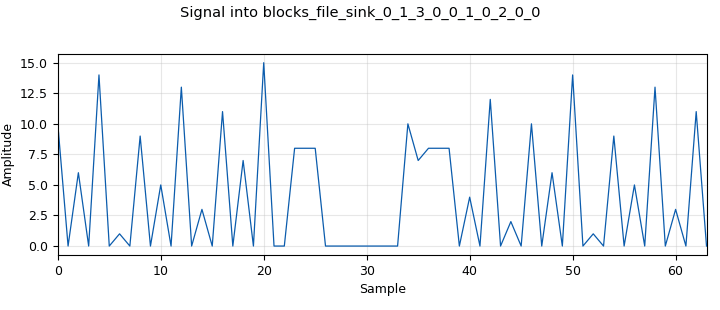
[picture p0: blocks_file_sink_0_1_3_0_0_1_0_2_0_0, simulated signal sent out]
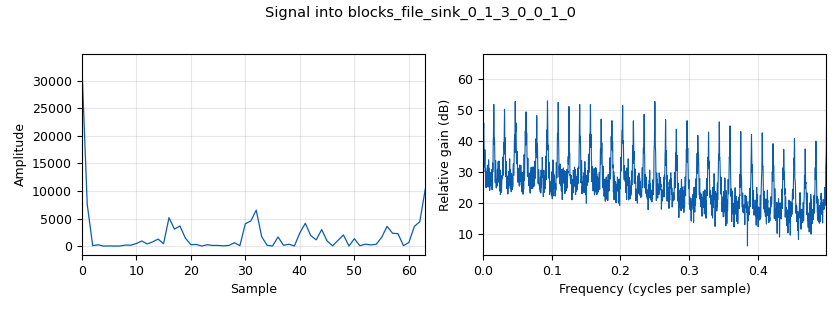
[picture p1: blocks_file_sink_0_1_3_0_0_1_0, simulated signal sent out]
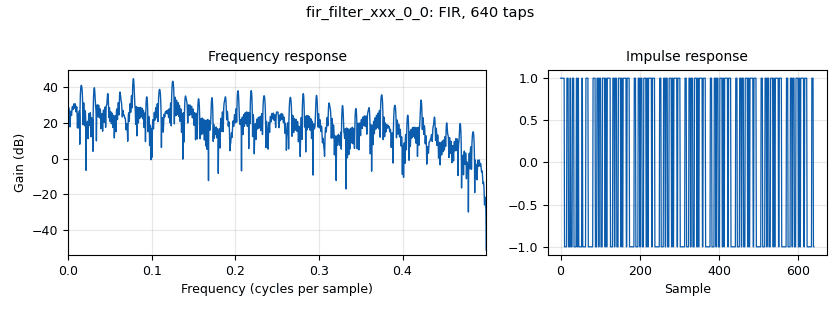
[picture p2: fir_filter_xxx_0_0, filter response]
<?xml version='1.0' encoding='utf-8'?>
<?grc format='1' created='3.7.6'?>
<flow_graph>
<block>
<key>options</key>
<param><key>id</key><value>zigbee_test</value></param>
<param><key>title</key><value>zigbee_test</value></param>
<param><key>generate_options</key><value>wx_gui</value></param>
<param><key>category</key><value>Custom</value></param>
</block>
<block>
<key>variable</key>
<param><key>id</key><value>peak_o_var</value></param>
<param><key>value</key><value>64*10</value></param>
</block>
<block>
<key>variable</key>
<param><key>id</key><value>N0</value></param>
<param><key>value</key><value>10**(-EsN0dB/10) * Es</value></param>
</block>
<block>
<key>variable</key>
<param><key>id</key><value>Q</value></param>
<param><key>value</key><value>64</value></param>
</block>
<block>
<key>variable</key>
<param><key>id</key><value>Es</value></param>
<param><key>value</key><value>1</value></param>
</block>
<block>
<key>variable</key>
<param><key>id</key><value>pulse_table</value></param>
<param><key>value</key><value>(-1,-1,1,1,1,1,-1,-1,-1,-1,-1,-1,-1,-1,-1,-1,-1,-1,1,1,1,1,1,1,-1,-1,1,1,1,1,1,1,1,1,-1,-1,1,1,-1,-1,1,1,1,1,1,1,-1,-1,-1,-1,1,1,1,1,-1,-1,1,1,1,1,-1,-1,-1,-1,-1,-1,1,1,-1,-1,-1,-1,1,1,1,1,1,1,-1,-1,-1,-1,-1,-1,-1,-1,-1,-1,-1,-1,1,1,1,1,1,1,-1,-1,1,1,1,1,1,1,1,1,-1,-1,1,1,-1,-1,1,1,1,1,1,1,-1,-1,-1,-1,1,1,1,1,-1,-1,-1,-1,1,1,1,1,-1,-1,1,1,1,1,-1,-1,-1,-1,1,1,1,1,1,1,-1,-1,-1,-1,-1,-1,-1,-1,-1,-1,-1,-1,1,1,1,1,1,1,-1,-1,1,1,1,1,1,1,1,1,-1,-1,1,1,-1,-1,1,1,1,1,1,1,-1,-1,-1,-1,1,1,1,1,-1,-1,-1,-1,1,1,1,1,-1,-1,1,1,1,1,-1,-1,-1,-1,1,1,1,1,1,1,-1,-1,-1,-1,-1,-1,-1,-1,-1,-1,-1,-1,1,1,1,1,1,1,-1,-1,1,1,1,1,1,1,1,1,-1,-1,1,1,-1,-1,-1,-1,-1,-1,1,1,-1,-1,1,1,1,1,1,1,-1,-1,-1,-1,1,1,1,1,-1,-1,1,1,1,1,-1,-1,-1,-1,1,1,1,1,1,1,-1,-1,-1,-1,-1,-1,-1,-1,-1,-1,-1,-1,1,1,1,1,1,1,-1,-1,1,1,1,1,1,1,-1,-1,1,1,1,1,1,1,1,1,-1,-1,1,1,-1,-1,1,1,1,1,1,1,-1,-1,-1,-1,1,1,1,1,-1,-1,1,1,1,1,-1,-1,-1,-1,1,1,1,1,1,1,-1,-1,-1,-1,-1,-1,-1,-1,-1,-1,-1,-1,1,1,1,1,1,1,-1,-1,1,1,1,1,1,1,-1,-1,1,1,1,1,1,1,1,1,-1,-1,1,1,-1,-1,1,1,1,1,1,1,-1,-1,-1,-1,1,1,1,1,-1,-1,1,1,1,1,-1,-1,-1,-1,1,1,1,1,1,1,-1,-1,-1,-1,-1,-1,-1,-1,-1,-1,-1,-1,-1,-1,-1,-1,-1,-1,-1,-1,1,1,1,1,1,1,-1,-1,1,1,1,1,1,1,1,1,-1,-1,1,1,-1,-1,1,1,1,1,1,1,-1,-1,-1,-1,1,1,1,1,-1,-1,1,1,1,1,-1,-1,-1,-1,1,1,1,1,1,1,-1,-1,-1,-1,-1,-1,-1,-1,1,1,1,1,1,1,1,1,1,1,1,1,-1,-1,-1,-1,-1,-1,1,1,-1,-1,-1,-1,-1,-1,-1,-1,1,1,-1,-1,1,1,-1,-1,-1,-1,-1,-1,1,1,1,1,-1,-1,-1,-1,1,1,-1,-1,-1,-1,1,1,1,1,-1,-1,-1,-1,1,1,1,1,-1,-1,-1,-1,-1,-1,1,1,1,1,1,1,1,1,1,1,1,1,-1,-1,-1,-1,-1,-1,1,1,-1,-1,-1,-1,-1,-1,-1,-1,1,1,-1,-1,1,1,-1,-1,-1,-1,-1,-1,1,1,1,1,-1,-1,-1,-1,1,1,-1,-1,-1,-1,-1,-1,1,1,-1,-1,-1,-1,1,1,1,1,-1,-1,-1,-1,-1,-1,1,1,1,1,1,1,1,1,1,1,1,1,-1,-1,-1,-1,-1,-1,1,1,-1,-1,-1,-1,-1,-1,-1,-1,1,1,-1,-1,1,1,-1,-1,-1,-1,-1,-1,1,1,-1,-1,-1,-1,-1,-1,1,1,1,1,-1,-1,-1,-1,1,1,-1,-1,-1,-1,1,1,1,1,-1,-1,-1,-1,-1,-1,1,1,1,1,1,1,1,1,1,1,1,1,-1,-1,-1,-1,-1,-1,1,1,-1,-1,-1,-1,-1,-1,-1,-1,1,1,-1,-1,1,1,-1,-1,1,1,-1,-1,1,1,-1,-1,-1,-1,-1,-1,1,1,1,1,-1,-1,-1,-1,1,1,-1,-1,-1,-1,1,1,1,1,-1,-1,-1,-1,-1,-1,1,1,1,1,1,1,1,1,1,1,1,1,-1,-1,-1,-1,-1,-1,1,1,-1,-1,-1,-1,-1,-1,-1,-1,-1,-1,-1,-1,-1,-1,-1,-1,1,1,-1,-1,1,1,-1,-1,-1,-1,-1,-1,1,1,1,1,-1,-1,-1,-1,1,1,-1,-1,-1,-1,1,1,1,1,-1,-1,-1,-1,-1,-1,1,1,1,1,1,1,1,1,1,1,1,1,-1,-1,-1,-1,-1,-1,-1,-1,-1,-1,-1,-1,-1,-1,1,1,-1,-1,-1,-1,-1,-1,-1,-1,1,1,-1,-1,1,1,-1,-1,-1,-1,-1,-1,1,1,1,1,-1,-1,-1,-1,1,1,-1,-1,-1,-1,1,1,1,1,-1,-1,-1,-1,-1,-1,1,1,1,1,1,1,1,1,1,1,-1,-1,1,1,1,1,1,1,1,1,-1,-1,-1,-1,-1,-1,1,1,-1,-1,-1,-1,-1,-1,-1,-1,1,1,-1,-1,1,1,-1,-1,-1,-1,-1,-1,1,1,1,1,-1,-1,-1,-1,1,1,-1,-1,-1,-1,1,1,1,1,-1,-1,-1,-1,-1,-1,1,1)</value></param>
</block>
<block>
<key>variable</key>
<param><key>id</key><value>samp_rate</value></param>
<param><key>value</key><value>200000</value></param>
</block>
<block>
<key>variable</key>
<param><key>id</key><value>EsN0dB</value></param>
<param><key>_enabled</key><value>False</value></param>
<param><key>value</key><value>10</value></param>
</block>
<block>
<key>blocks_throttle</key>
<param><key>id</key><value>blocks_throttle_0</value></param>
<param><key>type</key><value>complex</value></param>
<param><key>samples_per_second</key><value>samp_rate</value></param>
<param><key>Limit</key><value>False</value></param>
<param><key>max_noutput_items</key><value>100</value></param>
</block>
<block>
<key>virtual_source</key>
<param><key>id</key><value>virtual_source_0_0_0</value></param>
<param><key>_enabled</key><value>False</value></param>
<param><key>stream_id</key><value>rx</value></param>
</block>
<block>
<key>virtual_sink</key>
<param><key>id</key><value>tx1_1</value></param>
<param><key>_enabled</key><value>False</value></param>
<param><key>stream_id</key><value>tx</value></param>
</block>
<block>
<key>virtual_sink</key>
<param><key>id</key><value>tx1</value></param>
<param><key>stream_id</key><value>tx</value></param>
</block>
<block>
<key>blocks_packed_to_unpacked_xx</key>
<param><key>id</key><value>blocks_packed_to_unpacked_xx_0</value></param>
<param><key>type</key><value>byte</value></param>
<param><key>bits_per_chunk</key><value>4</value></param>
<param><key>endianness</key><value>gr.GR_LSB_FIRST</value></param>
</block>
<block>
<key>variable_slider</key>
<param><key>id</key><value>delay</value></param>
<param><key>label</key><value></value></param>
<param><key>value</key><value>0</value></param>
<param><key>min</key><value>0</value></param>
<param><key>max</key><value>100</value></param>
<param><key>num_steps</key><value>100</value></param>
<param><key>style</key><value>wx.SL_HORIZONTAL</value></param>
<param><key>converver</key><value>float_converter</value></param>
</block>
<block>
<key>blocks_file_sink</key>
<param><key>id</key><value>blocks_file_sink_0_1_3_0_0_1_0_2_1_0_0_0</value></param>
<param><key>_enabled</key><value>False</value></param>
<param><key>file</key><value>/home/zhe/Dropbox/gnuradio_trunk/gnufiles/err</value></param>
<param><key>type</key><value>float</value></param>
<param><key>unbuffered</key><value>True</value></param>
</block>
<block>
<key>digital_clock_recovery_mm_xx</key>
<param><key>id</key><value>digital_clock_recovery_mm_xx_0</value></param>
<param><key>_enabled</key><value>False</value></param>
<param><key>type</key><value>float</value></param>
<param><key>omega</key><value>2</value></param>
<param><key>gain_omega</key><value>0.000225</value></param>
<param><key>mu</key><value>0.5</value></param>
<param><key>gain_mu</key><value>0.03</value></param>
<param><key>omega_relative_limit</key><value>0.0002</value></param>
</block>
<block>
<key>blocks_sub_xx</key>
<param><key>id</key><value>blocks_sub_xx_0</value></param>
<param><key>_enabled</key><value>False</value></param>
<param><key>type</key><value>float</value></param>
</block>
<block>
<key>note</key>
<param><key>id</key><value>note_0</value></param>
<param><key>note</key><value>lower nipple is sent first</value></param>
</block>
<block>
<key>import</key>
<param><key>id</key><value>import_0</value></param>
<param><key>import</key><value>from math import sin, pi</value></param>
</block>
<block>
<key>virtual_source</key>
<param><key>id</key><value>virtual_source_0_0</value></param>
<param><key>stream_id</key><value>rx</value></param>
</block>
<block>
<key>blocks_peak_detector2_fb</key>
<param><key>id</key><value>blocks_peak_detector2_fb_0</value></param>
<param><key>_enabled</key><value>False</value></param>
<param><key>threshold_factor_rise</key><value>10**(acq_threshold_dB/10)*peak_o_var</value></param>
<param><key>look_ahead</key><value>10*32</value></param>
<param><key>alpha</key><value>0.001</value></param>
</block>
<block>
<key>single_pole_iir_filter_xx</key>
<param><key>id</key><value>single_pole_iir_filter_xx_0</value></param>
<param><key>_enabled</key><value>False</value></param>
<param><key>type</key><value>float</value></param>
<param><key>alpha</key><value>0.00016</value></param>
</block>
<block>
<key>wxgui_scopesink2</key>
<param><key>id</key><value>wxgui_scopesink2_0</value></param>
<param><key>_enabled</key><value>False</value></param>
<param><key>type</key><value>float</value></param>
<param><key>title</key><value>Scope Plot</value></param>
<param><key>samp_rate</key><value>samp_rate</value></param>
<param><key>v_scale</key><value>0</value></param>
<param><key>v_offset</key><value>0</value></param>
<param><key>t_scale</key><value>0</value></param>
<param><key>ac_couple</key><value>False</value></param>
<param><key>xy_mode</key><value>False</value></param>
<param><key>num_inputs</key><value>1</value></param>
<param><key>trig_mode</key><value>wxgui.TRIG_MODE_AUTO</value></param>
<param><key>y_axis_label</key><value>Counts</value></param>
</block>
<block>
<key>blocks_add_xx</key>
<param><key>id</key><value>blocks_add_xx_0_0</value></param>
<param><key>type</key><value>complex</value></param>
</block>
<block>
<key>virtual_sink</key>
<param><key>id</key><value>tx1_0</value></param>
<param><key>stream_id</key><value>rx</value></param>
</block>
<block>
<key>note</key>
<param><key>id</key><value>note_1</value></param>
<param><key>note</key><value>maps chunks of 4 bis directly to qpsk symbols</value></param>
</block>
<block>
<key>blocks_multiply_xx</key>
<param><key>id</key><value>blocks_multiply_xx_0</value></param>
<param><key>type</key><value>complex</value></param>
</block>
<block>
<key>virtual_sink</key>
<param><key>id</key><value>virtual_sink_0</value></param>
<param><key>stream_id</key><value>source</value></param>
</block>
<block>
<key>blocks_vector_source_x</key>
<param><key>id</key><value>blocks_vector_source_x_0_0</value></param>
<param><key>type</key><value>complex</value></param>
<param><key>vector</key><value>[0, sin(pi/4), 1, sin(3*pi/4)]</value></param>
<param><key>repeat</key><value>True</value></param>
</block>
<block>
<key>blocks_repeat</key>
<param><key>id</key><value>blocks_repeat_0</value></param>
<param><key>type</key><value>complex</value></param>
<param><key>interp</key><value>4</value></param>
</block>
<block>
<key>digital_chunks_to_symbols_xx</key>
<param><key>id</key><value>digital_chunks_to_symbols_xx_0</value></param>
<param><key>in_type</key><value>byte</value></param>
<param><key>out_type</key><value>complex</value></param>
<param><key>symbol_table</key><value>[(1+1j), (-1+1j), (1-1j), (-1+1j), (1+1j), (-1-1j), (-1-1j), (1+1j), (-1+1j), (-1+1j), (-1-1j), (1-1j), (-1-1j), (1-1j), (1+1j), (1-1j), (1-1j), (-1-1j), (1+1j), (-1-1j), (1-1j), (-1+1j), (-1+1j), (1-1j), (-1-1j), (-1-1j), (-1+1j), (1+1j), (-1+1j), (1+1j), (1-1j), (1+1j), (-1+1j), (-1+1j), (-1-1j), (1-1j), (-1-1j), (1-1j), (1+1j), (1-1j), (1+1j), (-1+1j), (1-1j), (-1+1j), (1+1j), (-1-1j), (-1-1j), (1+1j), (-1-1j), (-1-1j), (-1+1j), (1+1j), (-1+1j), (1+1j), (1-1j), (1+1j), (1-1j), (-1-1j), (1+1j), (-1-1j), (1-1j), (-1+1j), (-1+1j), (1-1j), (-1-1j), (1-1j), (1+1j), (1-1j), (1+1j), (-1+1j), (1-1j), (-1+1j), (1+1j), (-1-1j), (-1-1j), (1+1j), (-1+1j), (-1+1j), (-1-1j), (1-1j), (-1+1j), (1+1j), (1-1j), (1+1j), (1-1j), (-1-1j), (1+1j), (-1-1j), (1-1j), (-1+1j), (-1+1j), (1-1j), (-1-1j), (-1-1j), (-1+1j), (1+1j), (1+1j), (-1-1j), (-1-1j), (1+1j), (-1+1j), (-1+1j), (-1-1j), (1-1j), (-1-1j), (1-1j), (1+1j), (1-1j), (1+1j), (-1+1j), (1-1j), (-1+1j), (1-1j), (-1+1j), (-1+1j), (1-1j), (-1-1j), (-1-1j), (-1+1j), (1+1j), (-1+1j), (1+1j), (1-1j), (1+1j), (1-1j), (-1-1j), (1+1j), (-1-1j), (1+1j), (1-1j), (1+1j), (-1+1j), (1-1j), (-1+1j), (1+1j), (-1-1j), (-1-1j), (1+1j), (-1+1j), (-1+1j), (-1-1j), (1-1j), (-1-1j), (1-1j), (1-1j), (1+1j), (1-1j), (-1-1j), (1+1j), (-1-1j), (1-1j), (-1+1j), (-1+1j), (1-1j), (-1-1j), (-1-1j), (-1+1j), (1+1j), (-1+1j), (1+1j), (-1-1j), (1+1j), (-1+1j), (-1+1j), (-1-1j), (1-1j), (-1-1j), (1-1j), (1+1j), (1-1j), (1+1j), (-1+1j), (1-1j), (-1+1j), (1+1j), (-1-1j), (-1+1j), (1-1j), (-1-1j), (-1-1j), (-1+1j), (1+1j), (-1+1j), (1+1j), (1-1j), (1+1j), (1-1j), (-1-1j), (1+1j), (-1-1j), (1-1j), (-1+1j), (-1-1j), (1-1j), (-1-1j), (1-1j), (1+1j), (1-1j), (1+1j), (-1+1j), (1-1j), (-1+1j), (1+1j), (-1-1j), (-1-1j), (1+1j), (-1+1j), (-1+1j), (-1+1j), (1+1j), (-1+1j), (1+1j), (1-1j), (1+1j), (1-1j), (-1-1j), (1+1j), (-1-1j), (1-1j), (-1+1j), (-1+1j), (1-1j), (-1-1j), (-1-1j), (1-1j), (-1+1j), (1+1j), (-1-1j), (-1-1j), (1+1j), (-1+1j), (-1+1j), (-1-1j), (1-1j), (-1-1j), (1-1j), (1+1j), (1-1j), (1+1j), (-1+1j), (1+1j), (-1-1j), (1-1j), (-1+1j), (-1+1j), (1-1j), (-1-1j), (-1-1j), (-1+1j), (1+1j), (-1+1j), (1+1j), (1-1j), (1+1j), (1-1j), (-1-1j)]</value></param>
<param><key>dimension</key><value>16</value></param>
</block>
<block>
<key>blocks_file_sink</key>
<param><key>id</key><value>blocks_file_sink_0_1_3_0_0_1_0_2_0</value></param>
<param><key>_enabled</key><value>False</value></param>
<param><key>file</key><value>/home/zhe/Dropbox/gnuradio_trunk/gnufiles/flags1</value></param>
<param><key>type</key><value>byte</value></param>
<param><key>unbuffered</key><value>True</value></param>
</block>
<block>
<key>variable_function_probe</key>
<param><key>id</key><value>Erxd</value></param>
<param><key>_enabled</key><value>False</value></param>
<param><key>value</key><value>1</value></param>
<param><key>block_id</key><value>blocks_probe_signal_x_0</value></param>
<param><key>function_name</key><value>level</value></param>
<param><key>poll_rate</key><value>10</value></param>
</block>
<block>
<key>blocks_probe_signal_x</key>
<param><key>id</key><value>blocks_probe_signal_x_0</value></param>
<param><key>_enabled</key><value>False</value></param>
<param><key>type</key><value>float</value></param>
</block>
<block>
<key>single_pole_iir_filter_xx</key>
<param><key>id</key><value>single_pole_iir_filter_xx_0_0_1_1</value></param>
<param><key>_enabled</key><value>False</value></param>
<param><key>type</key><value>float</value></param>
<param><key>alpha</key><value>0.1</value></param>
</block>
<block>
<key>blocks_file_sink</key>
<param><key>id</key><value>blocks_file_sink_0_1_3_0_0_1_0_2_1</value></param>
<param><key>_enabled</key><value>False</value></param>
<param><key>file</key><value>/home/zhe/Dropbox/gnuradio_trunk/gnufiles/ab</value></param>
<param><key>type</key><value>float</value></param>
<param><key>unbuffered</key><value>True</value></param>
</block>
<block>
<key>blocks_regenerate_bb</key>
<param><key>id</key><value>blocks_regenerate_bb_0</value></param>
<param><key>_enabled</key><value>False</value></param>
<param><key>period</key><value>Q</value></param>
<param><key>max_regen</key><value>500000</value></param>
</block>
<block>
<key>blocks_file_sink</key>
<param><key>id</key><value>blocks_file_sink_0_1_3_0_0_1_0_0</value></param>
<param><key>_enabled</key><value>False</value></param>
<param><key>file</key><value>/home/zhe/Dropbox/gnuradio_trunk/gnufiles/demod</value></param>
<param><key>type</key><value>float</value></param>
<param><key>unbuffered</key><value>True</value></param>
</block>
<block>
<key>blocks_multiply_xx</key>
<param><key>id</key><value>blocks_multiply_xx_1</value></param>
<param><key>type</key><value>float</value></param>
</block>
<block>
<key>blocks_delay</key>
<param><key>id</key><value>blocks_delay_2</value></param>
<param><key>type</key><value>float</value></param>
<param><key>delay</key><value>2</value></param>
</block>
<block>
<key>blocks_float_to_complex</key>
<param><key>id</key><value>blocks_float_to_complex_0</value></param>
</block>
<block>
<key>blocks_complex_to_float</key>
<param><key>id</key><value>blocks_complex_to_float_0</value></param>
</block>
<block>
<key>virtual_source</key>
<param><key>id</key><value>virtual_source_0</value></param>
<param><key>stream_id</key><value>tx</value></param>
</block>
<block>
<key>blocks_file_sink</key>
<param><key>id</key><value>blocks_file_sink_0_1_3_0_0_1_0_1</value></param>
<param><key>_enabled</key><value>False</value></param>
<param><key>file</key><value>/home/zhe/Dropbox/gnuradio_trunk/gnufiles/frame_length</value></param>
<param><key>type</key><value>float</value></param>
<param><key>unbuffered</key><value>True</value></param>
</block>
<block>
<key>zigbee_frame_length_detector</key>
<param><key>id</key><value>zigbee_frame_length_detector_0</value></param>
<param><key>_enabled</key><value>False</value></param>
<param><key>symbol_table</key><value>pulse_table</value></param>
<param><key>Q</key><value>64</value></param>
</block>
<block>
<key>blocks_file_sink</key>
<param><key>id</key><value>blocks_file_sink_0_1_3_0_0_1_0_2_1_0_0_0_0_0</value></param>
<param><key>_enabled</key><value>False</value></param>
<param><key>file</key><value>/home/zhe/Dropbox/gnuradio_trunk/gnufiles/byte_out</value></param>
<param><key>type</key><value>byte</value></param>
<param><key>unbuffered</key><value>True</value></param>
</block>
<block>
<key>blocks_file_sink</key>
<param><key>id</key><value>blocks_file_sink_0_1_3_0_0_1_0_2_0_0</value></param>
<param><key>file</key><value>/home/zhe/Dropbox/gnuradio_trunk/gnufiles/source</value></param>
<param><key>type</key><value>byte</value></param>
<param><key>unbuffered</key><value>True</value></param>
</block>
<block>
<key>wxgui_scopesink2</key>
<param><key>id</key><value>wxgui_scopesink2_1</value></param>
<param><key>_enabled</key><value>False</value></param>
<param><key>type</key><value>float</value></param>
<param><key>title</key><value>Scope Plot</value></param>
<param><key>samp_rate</key><value>samp_rate</value></param>
<param><key>v_scale</key><value>0</value></param>
<param><key>v_offset</key><value>0</value></param>
<param><key>t_scale</key><value>0</value></param>
<param><key>ac_couple</key><value>False</value></param>
<param><key>xy_mode</key><value>False</value></param>
<param><key>num_inputs</key><value>1</value></param>
<param><key>trig_mode</key><value>wxgui.TRIG_MODE_AUTO</value></param>
<param><key>y_axis_label</key><value>Counts</value></param>
</block>
<block>
<key>blocks_char_to_float</key>
<param><key>id</key><value>blocks_char_to_float_0</value></param>
<param><key>_enabled</key><value>False</value></param>
<param><key>scale</key><value>1</value></param>
</block>
<block>
<key>variable_slider</key>
<param><key>id</key><value>acq_threshold_dB</value></param>
<param><key>label</key><value>acq_threshold_dB</value></param>
<param><key>value</key><value>-11.1</value></param>
<param><key>min</key><value>-40</value></param>
<param><key>max</key><value>20</value></param>
<param><key>num_steps</key><value>1000</value></param>
<param><key>style</key><value>wx.SL_HORIZONTAL</value></param>
<param><key>converver</key><value>float_converter</value></param>
<param><key>grid_pos</key><value>6,0,1,1</value></param>
</block>
<block>
<key>blocks_delay</key>
<param><key>id</key><value>blocks_delay_1</value></param>
<param><key>_enabled</key><value>False</value></param>
<param><key>type</key><value>byte</value></param>
<param><key>delay</key><value>0</value></param>
</block>
<block>
<key>blocks_null_sink</key>
<param><key>id</key><value>blocks_null_sink_0_1</value></param>
<param><key>_enabled</key><value>False</value></param>
<param><key>type</key><value>byte</value></param>
<param><key>bus_conns</key><value>[[0,],]</value></param>
</block>
<block>
<key>blocks_null_sink</key>
<param><key>id</key><value>blocks_null_sink_0</value></param>
<param><key>_enabled</key><value>False</value></param>
<param><key>type</key><value>byte</value></param>
<param><key>bus_conns</key><value>[[0,],]</value></param>
</block>
<block>
<key>blocks_null_sink</key>
<param><key>id</key><value>blocks_null_sink_0_0</value></param>
<param><key>_enabled</key><value>False</value></param>
<param><key>type</key><value>byte</value></param>
<param><key>bus_conns</key><value>[[0,],]</value></param>
</block>
<block>
<key>blocks_file_sink</key>
<param><key>id</key><value>blocks_file_sink_0_1_3_0_0_1_0_2_1_0_0_0_0_0_0</value></param>
<param><key>_enabled</key><value>False</value></param>
<param><key>file</key><value>/home/zhe/Dropbox/gnuradio_trunk/gnufiles/decim</value></param>
<param><key>type</key><value>byte</value></param>
<param><key>unbuffered</key><value>True</value></param>
</block>
<block>
<key>chopper_correlator2</key>
<param><key>id</key><value>chopper_correlator2_0</value></param>
<param><key>_enabled</key><value>False</value></param>
<param><key>pulse_data</key><value>pulse_table</value></param>
<param><key>Q</key><value>Q</value></param>
<param><key>N</key><value>1</value></param>
</block>
<block>
<key>virtual_source</key>
<param><key>id</key><value>virtual_source_1</value></param>
<param><key>_enabled</key><value>False</value></param>
<param><key>stream_id</key><value>source</value></param>
</block>
<block>
<key>blocks_file_sink</key>
<param><key>id</key><value>blocks_file_sink_0_1_3_0_0_1_0_2_1_0_0_0_0_0_0_0</value></param>
<param><key>_enabled</key><value>False</value></param>
<param><key>file</key><value>/home/zhe/Dropbox/gnuradio_trunk/gnufiles/deci</value></param>
<param><key>type</key><value>byte</value></param>
<param><key>unbuffered</key><value>True</value></param>
</block>
<block>
<key>wxgui_numbersink2</key>
<param><key>id</key><value>wxgui_numbersink2_0</value></param>
<param><key>_enabled</key><value>False</value></param>
<param><key>type</key><value>float</value></param>
<param><key>title</key><value>Number Plot</value></param>
<param><key>units</key><value>Units</value></param>
<param><key>samp_rate</key><value>1000</value></param>
<param><key>min_value</key><value>-100</value></param>
<param><key>max_value</key><value>100</value></param>
<param><key>factor</key><value>1.0</value></param>
<param><key>decimal_places</key><value>10</value></param>
<param><key>ref_level</key><value>0</value></param>
<param><key>number_rate</key><value>15</value></param>
<param><key>peak_hold</key><value>False</value></param>
<param><key>average</key><value>False</value></param>
<param><key>avg_alpha</key><value>0</value></param>
<param><key>show_gauge</key><value>True</value></param>
</block>
<block>
<key>blks2_error_rate</key>
<param><key>id</key><value>blks2_error_rate_0</value></param>
<param><key>_enabled</key><value>False</value></param>
<param><key>type</key><value>'SER'</value></param>
<param><key>win_size</key><value>10000</value></param>
<param><key>bits_per_symbol</key><value>8</value></param>
</block>
<block>
<key>analog_quadrature_demod_cf</key>
<param><key>id</key><value>analog_quadrature_demod_cf_0</value></param>
<param><key>gain</key><value>1</value></param>
</block>
<block>
<key>zigbee_frame_length_detector</key>
<param><key>id</key><value>zigbee_frame_length_detector_1</value></param>
<param><key>symbol_table</key><value>pulse_table</value></param>
<param><key>Q</key><value>64</value></param>
</block>
<block>
<key>blocks_file_sink</key>
<param><key>id</key><value>blocks_file_sink_0_1_3_0_0_1_0</value></param>
<param><key>file</key><value>/home/zhe/Dropbox/gnuradio_trunk/gnufiles/output</value></param>
<param><key>type</key><value>float</value></param>
<param><key>unbuffered</key><value>True</value></param>
</block>
<block>
<key>fir_filter_xxx</key>
<param><key>id</key><value>fir_filter_xxx_0_0</value></param>
<param><key>type</key><value>fff</value></param>
<param><key>decim</key><value>1</value></param>
<param><key>taps</key><value>pulse_table[14*Q:15*Q][::-1]+pulse_table[5*Q:6*Q][::-1]+8*pulse_table[0:Q][::-1]</value></param>
</block>
<block>
<key>blocks_vector_source_x</key>
<param><key>id</key><value>blocks_vector_source_x_0</value></param>
<param><key>type</key><value>byte</value></param>
<param><key>vector</key><value>1000*(0,0,0,0,229,17,1,2,3,4,5,6,7,8,9,10,11,12,13,14,15,16,17)</value></param>
<param><key>repeat</key><value>True</value></param>
</block>
<block>
<key>variable_slider</key>
<param><key>id</key><value>EsN0dB</value></param>
<param><key>label</key><value></value></param>
<param><key>value</key><value>20.01</value></param>
<param><key>min</key><value>-20</value></param>
<param><key>max</key><value>30</value></param>
<param><key>num_steps</key><value>100</value></param>
<param><key>style</key><value>wx.SL_HORIZONTAL</value></param>
<param><key>converver</key><value>float_converter</value></param>
</block>
<block>
<key>blocks_file_sink</key>
<param><key>id</key><value>blocks_file_sink_0_1_3_0_0_1_0_3</value></param>
<param><key>file</key><value>/home/zhe/Dropbox/gnuradio_trunk/gnufiles/demod</value></param>
<param><key>type</key><value>float</value></param>
<param><key>unbuffered</key><value>True</value></param>
</block>
<block>
<key>blocks_file_sink</key>
<param><key>id</key><value>blocks_file_sink_0_1_3_0_0_1_0_4</value></param>
<param><key>file</key><value>/home/zhe/Dropbox/gnuradio_trunk/gnufiles/result</value></param>
<param><key>type</key><value>float</value></param>
<param><key>unbuffered</key><value>True</value></param>
</block>
<block>
<key>blocks_file_sink</key>
<param><key>id</key><value>blocks_file_sink_0_1_3_0_0_1_0_2</value></param>
<param><key>file</key><value>/home/zhe/Dropbox/gnuradio_trunk/gnufiles/flags</value></param>
<param><key>type</key><value>byte</value></param>
<param><key>unbuffered</key><value>True</value></param>
</block>
<block>
<key>analog_noise_source_x</key>
<param><key>id</key><value>analog_noise_source_x_0</value></param>
<param><key>type</key><value>complex</value></param>
<param><key>noise_type</key><value>analog.GR_GAUSSIAN</value></param>
<param><key>amp</key><value>(Q*N0/2)**0.5</value></param>
<param><key>seed</key><value>0</value></param>
</block>
<block>
<key>blocks_peak_detector_xb</key>
<param><key>id</key><value>blocks_peak_detector_xb_0</value></param>
<param><key>type</key><value>float</value></param>
<param><key>threshold_factor_rise</key><value>10**(acq_threshold_dB/10)*peak_o_var</value></param>
<param><key>threshold_factor_fall</key><value>10**(acq_threshold_dB/10)*peak_o_var</value></param>
<param><key>look_ahead</key><value>10</value></param>
<param><key>alpha</key><value>0.001</value></param>
</block>
<connection><source_block_id>blocks_multiply_xx_0</source_block_id><sink_block_id>blocks_throttle_0</sink_block_id><source_key>0</source_key><sink_key>0</sink_key></connection>
<connection><source_block_id>blocks_throttle_0</source_block_id><sink_block_id>blocks_complex_to_float_0</sink_block_id><source_key>0</source_key><sink_key>0</sink_key></connection>
<connection><source_block_id>blocks_complex_to_float_0</source_block_id><sink_block_id>blocks_float_to_complex_0</sink_block_id><source_key>0</source_key><sink_key>0</sink_key></connection>
<connection><source_block_id>blocks_float_to_complex_0</source_block_id><sink_block_id>tx1</sink_block_id><source_key>0</source_key><sink_key>0</sink_key></connection>
<connection><source_block_id>virtual_source_0</source_block_id><sink_block_id>blocks_add_xx_0_0</sink_block_id><source_key>0</source_key><sink_key>0</sink_key></connection>
<connection><source_block_id>blocks_add_xx_0_0</source_block_id><sink_block_id>tx1_0</sink_block_id><source_key>0</source_key><sink_key>0</sink_key></connection>
<connection><source_block_id>blocks_vector_source_x_0</source_block_id><sink_block_id>blocks_packed_to_unpacked_xx_0</sink_block_id><source_key>0</source_key><sink_key>0</sink_key></connection>
<connection><source_block_id>digital_clock_recovery_mm_xx_0</source_block_id><sink_block_id>tx1_1</sink_block_id><source_key>0</source_key><sink_key>0</sink_key></connection>
<connection><source_block_id>virtual_source_0_0_0</source_block_id><sink_block_id>fir_filter_xxx_0_0</sink_block_id><source_key>0</source_key><sink_key>0</sink_key></connection>
<connection><source_block_id>blks2_error_rate_0</source_block_id><sink_block_id>blocks_file_sink_0_1_3_0_0_1_0_2_1_0_0_0</sink_block_id><source_key>0</source_key><sink_key>0</sink_key></connection>
<connection><source_block_id>digital_clock_recovery_mm_xx_0</source_block_id><sink_block_id>fir_filter_xxx_0_0</sink_block_id><source_key>0</source_key><sink_key>0</sink_key></connection>
<connection><source_block_id>blocks_complex_to_float_0</source_block_id><sink_block_id>blocks_delay_2</sink_block_id><source_key>1</source_key><sink_key>0</sink_key></connection>
<connection><source_block_id>blocks_delay_2</source_block_id><sink_block_id>blocks_float_to_complex_0</sink_block_id><source_key>0</source_key><sink_key>1</sink_key></connection>
<connection><source_block_id>blocks_sub_xx_0</source_block_id><sink_block_id>digital_clock_recovery_mm_xx_0</sink_block_id><source_key>0</source_key><sink_key>0</sink_key></connection>
<connection><source_block_id>single_pole_iir_filter_xx_0</source_block_id><sink_block_id>blocks_sub_xx_0</sink_block_id><source_key>0</source_key><sink_key>1</sink_key></connection>
<connection><source_block_id>analog_quadrature_demod_cf_0</source_block_id><sink_block_id>blocks_sub_xx_0</sink_block_id><source_key>0</source_key><sink_key>0</sink_key></connection>
<connection><source_block_id>analog_quadrature_demod_cf_0</source_block_id><sink_block_id>single_pole_iir_filter_xx_0</sink_block_id><source_key>0</source_key><sink_key>0</sink_key></connection>
<connection><source_block_id>blocks_multiply_xx_1</source_block_id><sink_block_id>blocks_peak_detector2_fb_0</sink_block_id><source_key>0</source_key><sink_key>0</sink_key></connection>
<connection><source_block_id>blocks_peak_detector2_fb_0</source_block_id><sink_block_id>blocks_file_sink_0_1_3_0_0_1_0_2</sink_block_id><source_key>0</source_key><sink_key>0</sink_key></connection>
<connection><source_block_id>digital_clock_recovery_mm_xx_0</source_block_id><sink_block_id>chopper_correlator2_0</sink_block_id><source_key>0</source_key><sink_key>0</sink_key></connection>
<connection><source_block_id>virtual_source_0_0</source_block_id><sink_block_id>analog_quadrature_demod_cf_0</sink_block_id><source_key>0</source_key><sink_key>0</sink_key></connection>
<connection><source_block_id>analog_quadrature_demod_cf_0</source_block_id><sink_block_id>blocks_file_sink_0_1_3_0_0_1_0_0</sink_block_id><source_key>0</source_key><sink_key>0</sink_key></connection>
<connection><source_block_id>blocks_peak_detector2_fb_0</source_block_id><sink_block_id>blocks_regenerate_bb_0</sink_block_id><source_key>0</source_key><sink_key>0</sink_key></connection>
<connection><source_block_id>chopper_correlator2_0</source_block_id><sink_block_id>blocks_file_sink_0_1_3_0_0_1_0_2_1_0_0_0_0_0</sink_block_id><source_key>2</source_key><sink_key>0</sink_key></connection>
<connection><source_block_id>blocks_peak_detector_xb_0</source_block_id><sink_block_id>blocks_regenerate_bb_0</sink_block_id><source_key>0</source_key><sink_key>0</sink_key></connection>
<connection><source_block_id>blocks_regenerate_bb_0</source_block_id><sink_block_id>chopper_correlator2_0</sink_block_id><source_key>0</source_key><sink_key>1</sink_key></connection>
<connection><source_block_id>blocks_regenerate_bb_0</source_block_id><sink_block_id>blocks_file_sink_0_1_3_0_0_1_0_2_0</sink_block_id><source_key>0</source_key><sink_key>0</sink_key></connection>
<connection><source_block_id>analog_noise_source_x_0</source_block_id><sink_block_id>blocks_add_xx_0_0</sink_block_id><source_key>0</source_key><sink_key>1</sink_key></connection>
<connection><source_block_id>blocks_packed_to_unpacked_xx_0</source_block_id><sink_block_id>blocks_file_sink_0_1_3_0_0_1_0_2_0_0</sink_block_id><source_key>0</source_key><sink_key>0</sink_key></connection>
<connection><source_block_id>blocks_packed_to_unpacked_xx_0</source_block_id><sink_block_id>virtual_sink_0</sink_block_id><source_key>0</source_key><sink_key>0</sink_key></connection>
<connection><source_block_id>blocks_vector_source_x_0_0</source_block_id><sink_block_id>blocks_multiply_xx_0</sink_block_id><source_key>0</source_key><sink_key>1</sink_key></connection>
<connection><source_block_id>blocks_repeat_0</source_block_id><sink_block_id>blocks_multiply_xx_0</sink_block_id><source_key>0</source_key><sink_key>0</sink_key></connection>
<connection><source_block_id>digital_chunks_to_symbols_xx_0</source_block_id><sink_block_id>blocks_repeat_0</sink_block_id><source_key>0</source_key><sink_key>0</sink_key></connection>
<connection><source_block_id>blocks_packed_to_unpacked_xx_0</source_block_id><sink_block_id>digital_chunks_to_symbols_xx_0</sink_block_id><source_key>0</source_key><sink_key>0</sink_key></connection>
<connection><source_block_id>blocks_multiply_xx_1</source_block_id><sink_block_id>single_pole_iir_filter_xx_0_0_1_1</sink_block_id><source_key>0</source_key><sink_key>0</sink_key></connection>
<connection><source_block_id>single_pole_iir_filter_xx_0_0_1_1</source_block_id><sink_block_id>blocks_probe_signal_x_0</sink_block_id><source_key>0</source_key><sink_key>0</sink_key></connection>
<connection><source_block_id>single_pole_iir_filter_xx_0_0_1_1</source_block_id><sink_block_id>blocks_file_sink_0_1_3_0_0_1_0_2_1</sink_block_id><source_key>0</source_key><sink_key>0</sink_key></connection>
<connection><source_block_id>fir_filter_xxx_0_0</source_block_id><sink_block_id>blocks_multiply_xx_1</sink_block_id><source_key>0</source_key><sink_key>0</sink_key></connection>
<connection><source_block_id>blocks_multiply_xx_1</source_block_id><sink_block_id>blocks_file_sink_0_1_3_0_0_1_0</sink_block_id><source_key>0</source_key><sink_key>0</sink_key></connection>
<connection><source_block_id>blocks_peak_detector_xb_0</source_block_id><sink_block_id>blocks_file_sink_0_1_3_0_0_1_0_2</sink_block_id><source_key>0</source_key><sink_key>0</sink_key></connection>
<connection><source_block_id>analog_quadrature_demod_cf_0</source_block_id><sink_block_id>fir_filter_xxx_0_0</sink_block_id><source_key>0</source_key><sink_key>0</sink_key></connection>
<connection><source_block_id>blocks_multiply_xx_1</source_block_id><sink_block_id>blocks_peak_detector_xb_0</sink_block_id><source_key>0</source_key><sink_key>0</sink_key></connection>
<connection><source_block_id>fir_filter_xxx_0_0</source_block_id><sink_block_id>blocks_multiply_xx_1</sink_block_id><source_key>0</source_key><sink_key>1</sink_key></connection>
<connection><source_block_id>blocks_char_to_float_0</source_block_id><sink_block_id>wxgui_scopesink2_1</sink_block_id><source_key>0</source_key><sink_key>0</sink_key></connection>
<connection><source_block_id>chopper_correlator2_0</source_block_id><sink_block_id>blocks_char_to_float_0</sink_block_id><source_key>1</source_key><sink_key>0</sink_key></connection>
<connection><source_block_id>analog_quadrature_demod_cf_0</source_block_id><sink_block_id>zigbee_frame_length_detector_0</sink_block_id><source_key>0</source_key><sink_key>0</sink_key></connection>
<connection><source_block_id>zigbee_frame_length_detector_0</source_block_id><sink_block_id>blocks_file_sink_0_1_3_0_0_1_0_1</sink_block_id><source_key>0</source_key><sink_key>0</sink_key></connection>
<connection><source_block_id>analog_quadrature_demod_cf_0</source_block_id><sink_block_id>blocks_file_sink_0_1_3_0_0_1_0_3</sink_block_id><source_key>0</source_key><sink_key>0</sink_key></connection>
<connection><source_block_id>chopper_correlator2_0</source_block_id><sink_block_id>blocks_null_sink_0_0</sink_block_id><source_key>2</source_key><sink_key>0</sink_key></connection>
<connection><source_block_id>chopper_correlator2_0</source_block_id><sink_block_id>blocks_file_sink_0_1_3_0_0_1_0_2_1_0_0_0_0_0_0_0</sink_block_id><source_key>1</source_key><sink_key>0</sink_key></connection>
<connection><source_block_id>chopper_correlator2_0</source_block_id><sink_block_id>blocks_file_sink_0_1_3_0_0_1_0_2_1_0_0_0_0_0_0</sink_block_id><source_key>0</source_key><sink_key>0</sink_key></connection>
<connection><source_block_id>chopper_correlator2_0</source_block_id><sink_block_id>blocks_delay_1</sink_block_id><source_key>0</source_key><sink_key>0</sink_key></connection>
<connection><source_block_id>chopper_correlator2_0</source_block_id><sink_block_id>blocks_null_sink_0</sink_block_id><source_key>0</source_key><sink_key>0</sink_key></connection>
<connection><source_block_id>chopper_correlator2_0</source_block_id><sink_block_id>blocks_null_sink_0_1</sink_block_id><source_key>1</source_key><sink_key>0</sink_key></connection>
<connection><source_block_id>blocks_peak_detector_xb_0</source_block_id><sink_block_id>chopper_correlator2_0</sink_block_id><source_key>0</source_key><sink_key>1</sink_key></connection>
<connection><source_block_id>analog_quadrature_demod_cf_0</source_block_id><sink_block_id>chopper_correlator2_0</sink_block_id><source_key>0</source_key><sink_key>0</sink_key></connection>
<connection><source_block_id>blks2_error_rate_0</source_block_id><sink_block_id>wxgui_numbersink2_0</sink_block_id><source_key>0</source_key><sink_key>0</sink_key></connection>
<connection><source_block_id>virtual_source_1</source_block_id><sink_block_id>blks2_error_rate_0</sink_block_id><source_key>0</source_key><sink_key>0</sink_key></connection>
<connection><source_block_id>blocks_delay_1</source_block_id><sink_block_id>blks2_error_rate_0</sink_block_id><source_key>0</source_key><sink_key>1</sink_key></connection>
<connection><source_block_id>analog_quadrature_demod_cf_0</source_block_id><sink_block_id>zigbee_frame_length_detector_1</sink_block_id><source_key>0</source_key><sink_key>0</sink_key></connection>
<connection><source_block_id>blocks_peak_detector_xb_0</source_block_id><sink_block_id>zigbee_frame_length_detector_1</sink_block_id><source_key>0</source_key><sink_key>1</sink_key></connection>
<connection><source_block_id>zigbee_frame_length_detector_1</source_block_id><sink_block_id>blocks_file_sink_0_1_3_0_0_1_0_4</sink_block_id><source_key>0</source_key><sink_key>0</sink_key></connection>
</flow_graph>
